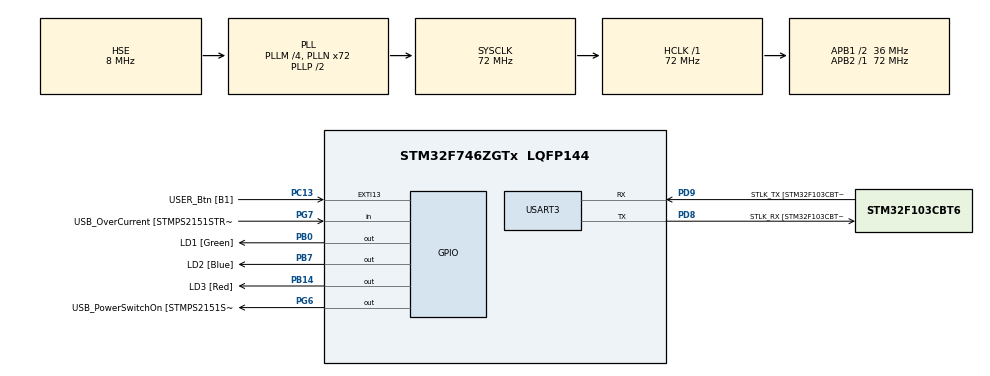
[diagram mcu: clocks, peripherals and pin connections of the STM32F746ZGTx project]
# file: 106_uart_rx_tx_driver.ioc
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FREERTOS.INCLUDE_vTaskDelayUntil=1
FREERTOS.Mutexes01=uart3_tx_access,Dynamic,NULL;uart3_rx_access,Dynamic,NULL
FREERTOS.Queues01=\ uart3_rx_queue,20,uint8_t,0,Dynamic,NULL,NULL; uart3_tx_queue,20,uint8_t,0,Dynamic,NULL,NULL
FREERTOS.Tasks01=defaultTask,0,128,StartDefaultTask,Default,NULL,Dynamic,NULL,NULL;process_send1,0,128,task_process_send1,Default,NULL,Dynamic,NULL,NULL;process_send2,0,128,task_process_send2,Default,NULL,Dynamic,NULL,NULL;competing_proce,-3,128,task_competing_process,Default,NULL,Dynamic,NULL,NULL
FREERTOS.configUSE_NEWLIB_REENTRANT=1
Mcu.Family=STM32F7
Mcu.Name=STM32F746ZGTx
Mcu.Package=LQFP144
NVIC.PriorityGroup=NVIC_PRIORITYGROUP_4
NVIC.TIM2_IRQn=true\:0\:0\:false\:false\:true\:false\:false\:true
NVIC.TimeBase=TIM2_IRQn
NVIC.TimeBaseIP=TIM2
NVIC.USART3_IRQn=true\:5\:0\:false\:false\:true\:true\:true\:true
PA1.GPIO_Label=RMII_REF_CLK [LAN8742A-CZ-TR_REFCLK0]
PA1.Signal=ETH_REF_CLK
PA10.GPIO_Label=USB_ID
PA10.Signal=USB_OTG_FS_ID
PA11.GPIO_Label=USB_DM
PA11.Signal=USB_OTG_FS_DM
PA12.GPIO_Label=USB_DP
PA12.Signal=USB_OTG_FS_DP
PA13.GPIO_Label=TMS
PA13.Mode=Serial_Wire
PA13.Signal=SYS_JTMS-SWDIO
PA14.GPIO_Label=TCK
PA14.Mode=Serial_Wire
PA14.Signal=SYS_JTCK-SWCLK
PA2.GPIO_Label=RMII_MDIO [LAN8742A-CZ-TR_MDIO]
PA2.Signal=ETH_MDIO
PA7.GPIO_Label=RMII_CRS_DV [LAN8742A-CZ-TR_CRS_DV]
PA7.Signal=ETH_CRS_DV
PA8.GPIO_Label=USB_SOF [TP1]
PA8.Signal=USB_OTG_FS_SOF
PA9.GPIO_Label=USB_VBUS
PA9.Signal=USB_OTG_FS_VBUS
PB0.GPIO_Label=LD1 [Green]
PB0.Signal=GPIO_Output
PB13.GPIO_Label=RMII_TXD1 [LAN8742A-CZ-TR_TXD1]
PB13.Signal=ETH_TXD1
PB14.GPIO_Label=LD3 [Red]
PB14.Signal=GPIO_Output
PB3.GPIO_Label=SW0
PB3.Signal=SYS_JTDO-SWO
PB7.GPIO_Label=LD2 [Blue]
PB7.Signal=GPIO_Output
PC1.GPIO_Label=RMII_MDC [LAN8742A-CZ-TR_MDC]
PC1.Signal=ETH_MDC
PC13.GPIO_Label=USER_Btn [B1]
PC13.Signal=GPXTI13
PC14/OSC32_IN.Mode=LSE-External-Oscillator
PC14/OSC32_IN.Signal=RCC_OSC32_IN
PC15/OSC32_OUT.Mode=LSE-External-Oscillator
PC15/OSC32_OUT.Signal=RCC_OSC32_OUT
PC4.GPIO_Label=RMII_RXD0 [LAN8742A-CZ-TR_RXD0]
PC4.Signal=ETH_RXD0
PC5.GPIO_Label=RMII_RXD1 [LAN8742A-CZ-TR_RXD1]
PC5.Signal=ETH_RXD1
PD8.GPIO_Label=STLK_RX [STM32F103CBT6_PA3]
PD8.Mode=Asynchronous
PD8.Signal=USART3_TX
PD9.GPIO_Label=STLK_TX [STM32F103CBT6_PA2]
PD9.Mode=Asynchronous
PD9.Signal=USART3_RX
PG11.GPIO_Label=RMII_TX_EN [LAN8742A-CZ-TR_TXEN]
PG11.Signal=ETH_TX_EN
PG13.GPIO_Label=RMII_TXD0 [LAN8742A-CZ-TR_TXD0]
PG13.Signal=ETH_TXD0
PG6.GPIO_Label=USB_PowerSwitchOn [STMPS2151STR_EN]
PG6.Signal=GPIO_Output
PG7.GPIO_Label=USB_OverCurrent [STMPS2151STR_FAULT]
PG7.Signal=GPIO_Input
PH0/OSC_IN.GPIO_Label=MCO [STM32F103CBT6_PA8]
PH0/OSC_IN.Mode=HSE-External-Clock-Source
PH0/OSC_IN.Signal=RCC_OSC_IN
PH1/OSC_OUT.Mode=HSE-External-Clock-Source
PH1/OSC_OUT.Signal=RCC_OSC_OUT
ProjectManager.HeapSize=0x200
ProjectManager.StackSize=0x400
ProjectManager.TargetToolchain=STM32CubeIDE
RCC.48MHZClocksFreq_Value=24000000
RCC.AHBFreq_Value=72000000
RCC.APB1CLKDivider=RCC_HCLK_DIV2
RCC.APB1Freq_Value=36000000
RCC.APB1TimFreq_Value=72000000
RCC.APB2Freq_Value=72000000
RCC.APB2TimFreq_Value=72000000
RCC.CortexFreq_Value=72000000
RCC.HCLKFreq_Value=72000000
RCC.HSE_VALUE=8000000
RCC.HSI_VALUE=16000000
RCC.PLLM=4
RCC.PLLMUL=RCC_PLL_MUL9
RCC.PLLN=72
RCC.PLLQ=3
RCC.PLLSourceVirtual=RCC_PLLSOURCE_HSE
RCC.PRESCALERUSB=RCC_USBCLKSOURCE_PLL_DIV1_5
RCC.SYSCLKFreq_VALUE=72000000
RCC.SYSCLKSource=RCC_SYSCLKSOURCE_PLLCLK
RCC.SYSCLKSourceVirtual=RCC_SYSCLKSOURCE_PLLCLK
RCC.USBFreq_Value=48000000
RCC.VCOOutputFreq_Value=144000000
USART3.VirtualMode-Asynchronous=VM_ASYNC
VP_FREERTOS_VS_CMSIS_V1.Mode=CMSIS_V1
VP_SYS_VS_tim2.Mode=TIM2
board=NUCLEO-F746ZG

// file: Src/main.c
/* USER CODE BEGIN Header */
/**
  ******************************************************************************
  * @file           : main.c
  * @brief          : Main program body
  ******************************************************************************
  * @attention
  *
  * <h2><center>&copy; Copyright (c) 2020 STMicroelectronics.
  * All rights reserved.</center></h2>
  *
  * This software component is licensed by ST under Ultimate Liberty license
  * SLA0044, the "License"; You may not use this file except in compliance with
  * the License. You may obtain a copy of the License at:
  *                             www.st.com/SLA0044
  *
  ******************************************************************************
  */
/* USER CODE END Header */
#include "main.h"
#include "cmsis_os.h"

UART_HandleTypeDef huart3;

osThreadId defaultTaskHandle;
osThreadId process_send1Handle;
osThreadId process_send2Handle;
osThreadId competing_proceHandle;
osMessageQId uart3_rx_queueHandle;
osMessageQId uart3_tx_queueHandle;
osMutexId uart3_tx_accessHandle;
osMutexId uart3_rx_accessHandle;

void SystemClock_Config(void);
static void MX_GPIO_Init(void);
static void MX_USART3_UART_Init(void);
void StartDefaultTask(void const * argument);
void task_process_send1(void const * argument);
void task_process_send2(void const * argument);
void task_competing_process(void const * argument);

/* USER CODE BEGIN 0 */
signed portBASE_TYPE xSerialGetChar( char *pcRxedChar, TickType_t xBlockTime )
{
    /* Get the next character from the buffer.  Return false if no characters
    are available, or arrive before xBlockTime expires. */
    if( xQueueReceive( uart3_rx_queueHandle, pcRxedChar, xBlockTime ) )
    {
        return pdTRUE;
    } else {
        return pdFALSE;
    }
}

signed portBASE_TYPE xSerialPutChar( char cOutChar, TickType_t xBlockTime )
{
    signed portBASE_TYPE xReturn;

    if( xQueueSend( uart3_tx_queueHandle, &cOutChar, xBlockTime ) == pdPASS )
    {
        xReturn = pdPASS;
        __HAL_UART_ENABLE_IT(&huart3, UART_IT_TXE);
    } else {
        xReturn = pdFAIL;
    }

    return xReturn;
}

BaseType_t uart3_gets(char * str, BaseType_t len)
{
    BaseType_t result = 0;

    while( xSemaphoreTake(uart3_rx_accessHandle, 1000 / portTICK_PERIOD_MS ) != pdTRUE )
      ; // wait up to forever for the mutex access

    while(len>0)
    {
        while( xSerialGetChar(str, 1000 / portTICK_PERIOD_MS ) != pdTRUE )
            ; // wait up to forever to receive a character
        if ( *str == '\n' ) {
            break;
        }
        --len;
        ++result;
        ++str;
    }
    *str = '\0'; // terminate the string instead of '\n'

    xSemaphoreGive(uart3_rx_accessHandle);

    return(result);
}

BaseType_t uart3_puts(const char * str)
{
    BaseType_t result = 0;

    while( xSemaphoreTake(uart3_tx_accessHandle, 1000 / portTICK_PERIOD_MS ) != pdTRUE )
        ; // wait up to forever for the mutex access

    while( *str != '\0' ) {
        while( xSerialPutChar(*str, 1000 / portTICK_PERIOD_MS ) != pdTRUE )
            ; // wait up to forever to send a character
        ++result;
        ++str;
    }

    xSemaphoreGive(uart3_tx_accessHandle);

    return(result);
}

BaseType_t uart3_write(const void * buffer, BaseType_t len)
{
    BaseType_t result = 0;

    while( xSemaphoreTake(uart3_tx_accessHandle, 1000 / portTICK_PERIOD_MS ) != pdTRUE )
        ; // wait up to forever for the mutex access

    while( len>0 ) {
        while( xSerialPutChar(* (char*)buffer, 1000 / portTICK_PERIOD_MS ) != pdTRUE )
            ; // wait up to forever to send a character
        --len;
        ++result;
        ++buffer;
    }

    xSemaphoreGive(uart3_tx_accessHandle);

    return(result);
}
/* USER CODE END 0 */

int main(void)
{

  /* MCU Configuration--------------------------------------------------------*/

  /* Reset of all peripherals, Initializes the Flash interface and the Systick. */
  HAL_Init();

  /* Configure the system clock */
  SystemClock_Config();

  /* Initialize all configured peripherals */
  MX_GPIO_Init();
  MX_USART3_UART_Init();
  /* USER CODE BEGIN 2 */
  __HAL_UART_ENABLE_IT(&huart3, UART_IT_RXNE);
  /* USER CODE END 2 */

  /* Create the mutex(es) */
  /* definition and creation of uart3_tx_access */
  osMutexDef(uart3_tx_access);
  uart3_tx_accessHandle = osMutexCreate(osMutex(uart3_tx_access));

  /* definition and creation of uart3_rx_access */
  osMutexDef(uart3_rx_access);
  uart3_rx_accessHandle = osMutexCreate(osMutex(uart3_rx_access));

  /* Create the queue(s) */
  /* definition and creation of uart3_rx_queue */
  osMessageQDef( uart3_rx_queue, 20, uint8_t);
   uart3_rx_queueHandle = osMessageCreate(osMessageQ( uart3_rx_queue), NULL);

  /* definition and creation of uart3_tx_queue */
  osMessageQDef( uart3_tx_queue, 20, uint8_t);
   uart3_tx_queueHandle = osMessageCreate(osMessageQ( uart3_tx_queue), NULL);

  /* Create the thread(s) */
  /* definition and creation of defaultTask */
  osThreadDef(defaultTask, StartDefaultTask, osPriorityNormal, 0, 128);
  defaultTaskHandle = osThreadCreate(osThread(defaultTask), NULL);

  /* definition and creation of process_send1 */
  osThreadDef(process_send1, task_process_send1, osPriorityNormal, 0, 128);
  process_send1Handle = osThreadCreate(osThread(process_send1), NULL);

  /* definition and creation of process_send2 */
  osThreadDef(process_send2, task_process_send2, osPriorityNormal, 0, 128);
  process_send2Handle = osThreadCreate(osThread(process_send2), NULL);

  /* definition and creation of competing_proce */
  osThreadDef(competing_proce, task_competing_process, osPriorityIdle, 0, 128);
  competing_proceHandle = osThreadCreate(osThread(competing_proce), NULL);

  /* Start scheduler */
  osKernelStart();

  /* We should never get here as control is now taken by the scheduler */
  /* Infinite loop */
  while (1)
  {

  }
}

void SystemClock_Config(void)
{
  RCC_OscInitTypeDef RCC_OscInitStruct = {0};
  RCC_ClkInitTypeDef RCC_ClkInitStruct = {0};

  /** Configure LSE Drive Capability
  */
  HAL_PWR_EnableBkUpAccess();
  /** Configure the main internal regulator output voltage
  */
  __HAL_RCC_PWR_CLK_ENABLE();
  __HAL_PWR_VOLTAGESCALING_CONFIG(PWR_REGULATOR_VOLTAGE_SCALE3);
  /** Initializes the RCC Oscillators according to the specified parameters
  * in the RCC_OscInitTypeDef structure.
  */
  RCC_OscInitStruct.OscillatorType = RCC_OSCILLATORTYPE_HSE;
  RCC_OscInitStruct.HSEState = RCC_HSE_BYPASS;
  RCC_OscInitStruct.PLL.PLLState = RCC_PLL_ON;
  RCC_OscInitStruct.PLL.PLLSource = RCC_PLLSOURCE_HSE;
  RCC_OscInitStruct.PLL.PLLM = 4;
  RCC_OscInitStruct.PLL.PLLN = 72;
  RCC_OscInitStruct.PLL.PLLP = RCC_PLLP_DIV2;
  RCC_OscInitStruct.PLL.PLLQ = 3;
  if (HAL_RCC_OscConfig(&RCC_OscInitStruct) != HAL_OK)
  {
    Error_Handler();
  }
  /** Initializes the CPU, AHB and APB buses clocks
  */
  RCC_ClkInitStruct.ClockType = RCC_CLOCKTYPE_HCLK|RCC_CLOCKTYPE_SYSCLK
                              |RCC_CLOCKTYPE_PCLK1|RCC_CLOCKTYPE_PCLK2;
  RCC_ClkInitStruct.SYSCLKSource = RCC_SYSCLKSOURCE_PLLCLK;
  RCC_ClkInitStruct.AHBCLKDivider = RCC_SYSCLK_DIV1;
  RCC_ClkInitStruct.APB1CLKDivider = RCC_HCLK_DIV2;
  RCC_ClkInitStruct.APB2CLKDivider = RCC_HCLK_DIV1;

  if (HAL_RCC_ClockConfig(&RCC_ClkInitStruct, FLASH_LATENCY_2) != HAL_OK)
  {
    Error_Handler();
  }
}

static void MX_USART3_UART_Init(void)
{

  huart3.Instance = USART3;
  huart3.Init.BaudRate = 115200;
  huart3.Init.WordLength = UART_WORDLENGTH_8B;
  huart3.Init.StopBits = UART_STOPBITS_1;
  huart3.Init.Parity = UART_PARITY_NONE;
  huart3.Init.Mode = UART_MODE_TX_RX;
  huart3.Init.HwFlowCtl = UART_HWCONTROL_NONE;
  huart3.Init.OverSampling = UART_OVERSAMPLING_16;
  huart3.Init.OneBitSampling = UART_ONE_BIT_SAMPLE_DISABLE;
  huart3.AdvancedInit.AdvFeatureInit = UART_ADVFEATURE_NO_INIT;
  if (HAL_UART_Init(&huart3) != HAL_OK)
  {
    Error_Handler();
  }

}

static void MX_GPIO_Init(void)
{
  GPIO_InitTypeDef GPIO_InitStruct = {0};

  /* GPIO Ports Clock Enable */
  __HAL_RCC_GPIOC_CLK_ENABLE();
  __HAL_RCC_GPIOH_CLK_ENABLE();
  __HAL_RCC_GPIOA_CLK_ENABLE();
  __HAL_RCC_GPIOB_CLK_ENABLE();
  __HAL_RCC_GPIOD_CLK_ENABLE();
  __HAL_RCC_GPIOG_CLK_ENABLE();

  /*Configure GPIO pin Output Level */
  HAL_GPIO_WritePin(GPIOB, LD1_Pin|LD3_Pin|LD2_Pin, GPIO_PIN_RESET);

  /*Configure GPIO pin Output Level */
  HAL_GPIO_WritePin(USB_PowerSwitchOn_GPIO_Port, USB_PowerSwitchOn_Pin, GPIO_PIN_RESET);

  /*Configure GPIO pin : USER_Btn_Pin */
  GPIO_InitStruct.Pin = USER_Btn_Pin;
  GPIO_InitStruct.Mode = GPIO_MODE_IT_RISING;
  GPIO_InitStruct.Pull = GPIO_NOPULL;
  HAL_GPIO_Init(USER_Btn_GPIO_Port, &GPIO_InitStruct);

  /*Configure GPIO pins : RMII_MDC_Pin RMII_RXD0_Pin RMII_RXD1_Pin */
  GPIO_InitStruct.Pin = RMII_MDC_Pin|RMII_RXD0_Pin|RMII_RXD1_Pin;
  GPIO_InitStruct.Mode = GPIO_MODE_AF_PP;
  GPIO_InitStruct.Pull = GPIO_NOPULL;
  GPIO_InitStruct.Speed = GPIO_SPEED_FREQ_VERY_HIGH;
  GPIO_InitStruct.Alternate = GPIO_AF11_ETH;
  HAL_GPIO_Init(GPIOC, &GPIO_InitStruct);

  /*Configure GPIO pins : RMII_REF_CLK_Pin RMII_MDIO_Pin RMII_CRS_DV_Pin */
  GPIO_InitStruct.Pin = RMII_REF_CLK_Pin|RMII_MDIO_Pin|RMII_CRS_DV_Pin;
  GPIO_InitStruct.Mode = GPIO_MODE_AF_PP;
  GPIO_InitStruct.Pull = GPIO_NOPULL;
  GPIO_InitStruct.Speed = GPIO_SPEED_FREQ_VERY_HIGH;
  GPIO_InitStruct.Alternate = GPIO_AF11_ETH;
  HAL_GPIO_Init(GPIOA, &GPIO_InitStruct);

  /*Configure GPIO pins : LD1_Pin LD3_Pin LD2_Pin */
  GPIO_InitStruct.Pin = LD1_Pin|LD3_Pin|LD2_Pin;
  GPIO_InitStruct.Mode = GPIO_MODE_OUTPUT_PP;
  GPIO_InitStruct.Pull = GPIO_NOPULL;
  GPIO_InitStruct.Speed = GPIO_SPEED_FREQ_LOW;
  HAL_GPIO_Init(GPIOB, &GPIO_InitStruct);

  /*Configure GPIO pin : RMII_TXD1_Pin */
  GPIO_InitStruct.Pin = RMII_TXD1_Pin;
  GPIO_InitStruct.Mode = GPIO_MODE_AF_PP;
  GPIO_InitStruct.Pull = GPIO_NOPULL;
  GPIO_InitStruct.Speed = GPIO_SPEED_FREQ_VERY_HIGH;
  GPIO_InitStruct.Alternate = GPIO_AF11_ETH;
  HAL_GPIO_Init(RMII_TXD1_GPIO_Port, &GPIO_InitStruct);

  /*Configure GPIO pin : USB_PowerSwitchOn_Pin */
  GPIO_InitStruct.Pin = USB_PowerSwitchOn_Pin;
  GPIO_InitStruct.Mode = GPIO_MODE_OUTPUT_PP;
  GPIO_InitStruct.Pull = GPIO_NOPULL;
  GPIO_InitStruct.Speed = GPIO_SPEED_FREQ_LOW;
  HAL_GPIO_Init(USB_PowerSwitchOn_GPIO_Port, &GPIO_InitStruct);

  /*Configure GPIO pin : USB_OverCurrent_Pin */
  GPIO_InitStruct.Pin = USB_OverCurrent_Pin;
  GPIO_InitStruct.Mode = GPIO_MODE_INPUT;
  GPIO_InitStruct.Pull = GPIO_NOPULL;
  HAL_GPIO_Init(USB_OverCurrent_GPIO_Port, &GPIO_InitStruct);

  /*Configure GPIO pins : USB_SOF_Pin USB_ID_Pin USB_DM_Pin USB_DP_Pin */
  GPIO_InitStruct.Pin = USB_SOF_Pin|USB_ID_Pin|USB_DM_Pin|USB_DP_Pin;
  GPIO_InitStruct.Mode = GPIO_MODE_AF_PP;
  GPIO_InitStruct.Pull = GPIO_NOPULL;
  GPIO_InitStruct.Speed = GPIO_SPEED_FREQ_VERY_HIGH;
  GPIO_InitStruct.Alternate = GPIO_AF10_OTG_FS;
  HAL_GPIO_Init(GPIOA, &GPIO_InitStruct);

  /*Configure GPIO pin : USB_VBUS_Pin */
  GPIO_InitStruct.Pin = USB_VBUS_Pin;
  GPIO_InitStruct.Mode = GPIO_MODE_INPUT;
  GPIO_InitStruct.Pull = GPIO_NOPULL;
  HAL_GPIO_Init(USB_VBUS_GPIO_Port, &GPIO_InitStruct);

  /*Configure GPIO pins : RMII_TX_EN_Pin RMII_TXD0_Pin */
  GPIO_InitStruct.Pin = RMII_TX_EN_Pin|RMII_TXD0_Pin;
  GPIO_InitStruct.Mode = GPIO_MODE_AF_PP;
  GPIO_InitStruct.Pull = GPIO_NOPULL;
  GPIO_InitStruct.Speed = GPIO_SPEED_FREQ_VERY_HIGH;
  GPIO_InitStruct.Alternate = GPIO_AF11_ETH;
  HAL_GPIO_Init(GPIOG, &GPIO_InitStruct);

}

void StartDefaultTask(void const * argument)
{
  /* USER CODE BEGIN 5 */
  /* Infinite loop */
  for(;;)
  {

      osDelay(1000); // or use vTaskDelay( 1000 / portTICK_PERIOD_MS );
  }
  /* USER CODE END 5 */
}

void task_process_send1(void const * argument)
{
  /* USER CODE BEGIN task_process_send1 */
  /* Infinite loop */
  for(;;)
  {
    uart3_puts("++++");
  }
  /* USER CODE END task_process_send1 */
}

void task_process_send2(void const * argument)
{
  /* USER CODE BEGIN task_process_send2 */
  /* Infinite loop */
  for(;;)
  {
        uart3_puts("---");
  }
  /* USER CODE END task_process_send2 */
}

void task_competing_process(void const * argument)
{
  /* USER CODE BEGIN task_competing_process */
  TickType_t xLastWakeTime = xTaskGetTickCount();
  /* Infinite loop */
  for(;;)
  {
    xSerialPutChar('X', 5 / portTICK_PERIOD_MS );
    vTaskDelayUntil( &xLastWakeTime, (100 / portTICK_PERIOD_MS) );
  }
  /* USER CODE END task_competing_process */
}

void HAL_TIM_PeriodElapsedCallback(TIM_HandleTypeDef *htim)
{
  if (htim->Instance == TIM2) {
    HAL_IncTick();
  }
}

void Error_Handler(void)
{
}
